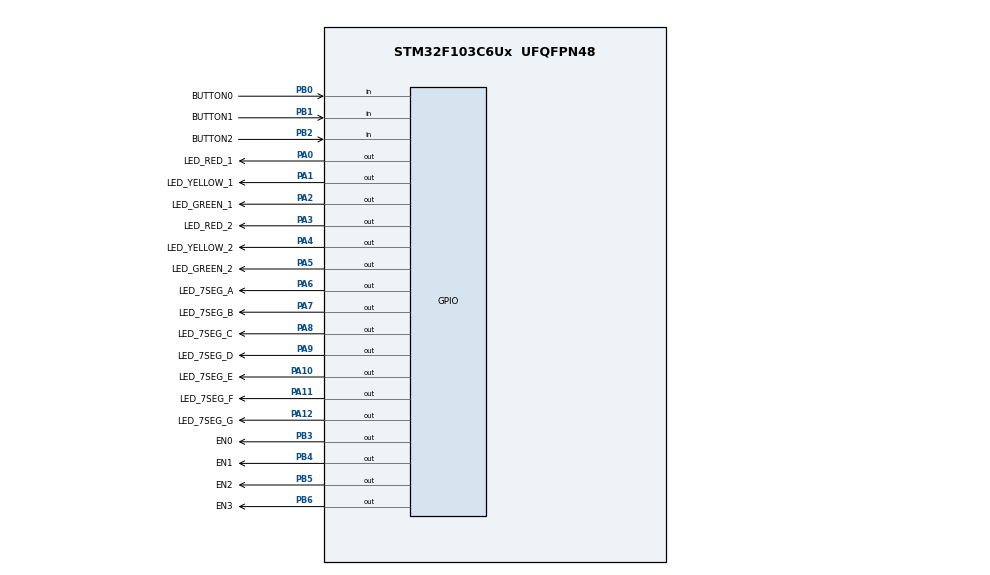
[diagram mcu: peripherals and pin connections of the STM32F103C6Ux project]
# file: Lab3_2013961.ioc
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Mcu.Family=STM32F1
Mcu.Name=STM32F103C6Ux
Mcu.Package=UFQFPN48
NVIC.PriorityGroup=NVIC_PRIORITYGROUP_4
NVIC.TIM2_IRQn=true\:0\:0\:false\:false\:true\:true\:true
PA0-WKUP.GPIO_Label=LED_RED_1
PA0-WKUP.Signal=GPIO_Output
PA1.GPIO_Label=LED_YELLOW_1
PA1.Signal=GPIO_Output
PA10.GPIO_Label=LED_7SEG_E
PA10.Signal=GPIO_Output
PA11.GPIO_Label=LED_7SEG_F
PA11.Signal=GPIO_Output
PA12.GPIO_Label=LED_7SEG_G
PA12.Signal=GPIO_Output
PA2.GPIO_Label=LED_GREEN_1
PA2.Signal=GPIO_Output
PA3.GPIO_Label=LED_RED_2
PA3.Signal=GPIO_Output
PA4.GPIO_Label=LED_YELLOW_2
PA4.Signal=GPIO_Output
PA5.GPIO_Label=LED_GREEN_2
PA5.Signal=GPIO_Output
PA6.GPIO_Label=LED_7SEG_A
PA6.Signal=GPIO_Output
PA7.GPIO_Label=LED_7SEG_B
PA7.Signal=GPIO_Output
PA8.GPIO_Label=LED_7SEG_C
PA8.Signal=GPIO_Output
PA9.GPIO_Label=LED_7SEG_D
PA9.Signal=GPIO_Output
PB0.GPIO_Label=BUTTON0
PB0.GPIO_PuPd=GPIO_PULLUP
PB0.Signal=GPIO_Input
PB1.GPIO_Label=BUTTON1
PB1.GPIO_PuPd=GPIO_PULLUP
PB1.Signal=GPIO_Input
PB2.GPIO_Label=BUTTON2
PB2.GPIO_PuPd=GPIO_PULLUP
PB2.Signal=GPIO_Input
PB3.GPIO_Label=EN0
PB3.Signal=GPIO_Output
PB4.GPIO_Label=EN1
PB4.Signal=GPIO_Output
PB5.GPIO_Label=EN2
PB5.Signal=GPIO_Output
PB6.GPIO_Label=EN3
PB6.Signal=GPIO_Output
ProjectManager.HeapSize=0x200
ProjectManager.StackSize=0x400
ProjectManager.TargetToolchain=STM32CubeIDE
RCC.APB1Freq_Value=8000000
RCC.APB2Freq_Value=8000000
TIM2.Period=10
TIM2.Prescaler=7999
VP_SYS_VS_ND.Mode=No_Debug
VP_TIM2_VS_ClockSourceINT.Mode=Internal
board=custom

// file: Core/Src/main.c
/* USER CODE BEGIN Header */
/**
  ******************************************************************************
  * @file           : main.c
  * @brief          : Main program body
  ******************************************************************************
  * @attention
  *
  * <h2><center>&copy; Copyright (c) 2022 STMicroelectronics.
  * All rights reserved.</center></h2>
  *
  * This software component is licensed by ST under BSD 3-Clause license,
  * the "License"; You may not use this file except in compliance with the
  * License. You may obtain a copy of the License at:
  *                        opensource.org/licenses/BSD-3-Clause
  *
  ******************************************************************************
  */
/* USER CODE END Header */
#include "main.h"

/* USER CODE BEGIN Includes */
#include "global.h"
#include "timer.h"
#include "button.h"
#include "led_traffic.h"
#include "led_7_seg.h"
#include "traffic_fsm.h"
/* USER CODE END Includes */

TIM_HandleTypeDef htim2;

void SystemClock_Config(void);
static void MX_GPIO_Init(void);
static void MX_TIM2_Init(void);

/* USER CODE BEGIN 0 */
void initial_system();
/* USER CODE END 0 */

int main(void)
{

  /* MCU Configuration--------------------------------------------------------*/

  /* Reset of all peripherals, Initializes the Flash interface and the Systick. */
  HAL_Init();

  /* Configure the system clock */
  SystemClock_Config();

  /* Initialize all configured peripherals */
  MX_GPIO_Init();
  MX_TIM2_Init();
  /* USER CODE BEGIN 2 */
HAL_TIM_Base_Start_IT(&htim2);
  /* USER CODE END 2 */

  /* Infinite loop */
  /* USER CODE BEGIN WHILE */
set_timer(3, 100);
  while (1)
  {

	fsm_for_button();
	led_7seg_run();
	fsm_system_run();

    /* USER CODE END WHILE */

  }
}

void SystemClock_Config(void)
{
  RCC_OscInitTypeDef RCC_OscInitStruct = {0};
  RCC_ClkInitTypeDef RCC_ClkInitStruct = {0};

  /** Initializes the RCC Oscillators according to the specified parameters
  * in the RCC_OscInitTypeDef structure.
  */
  RCC_OscInitStruct.OscillatorType = RCC_OSCILLATORTYPE_HSI;
  RCC_OscInitStruct.HSIState = RCC_HSI_ON;
  RCC_OscInitStruct.HSICalibrationValue = RCC_HSICALIBRATION_DEFAULT;
  RCC_OscInitStruct.PLL.PLLState = RCC_PLL_NONE;
  if (HAL_RCC_OscConfig(&RCC_OscInitStruct) != HAL_OK)
  {
    Error_Handler();
  }
  /** Initializes the CPU, AHB and APB buses clocks
  */
  RCC_ClkInitStruct.ClockType = RCC_CLOCKTYPE_HCLK|RCC_CLOCKTYPE_SYSCLK
                              |RCC_CLOCKTYPE_PCLK1|RCC_CLOCKTYPE_PCLK2;
  RCC_ClkInitStruct.SYSCLKSource = RCC_SYSCLKSOURCE_HSI;
  RCC_ClkInitStruct.AHBCLKDivider = RCC_SYSCLK_DIV1;
  RCC_ClkInitStruct.APB1CLKDivider = RCC_HCLK_DIV1;
  RCC_ClkInitStruct.APB2CLKDivider = RCC_HCLK_DIV1;

  if (HAL_RCC_ClockConfig(&RCC_ClkInitStruct, FLASH_LATENCY_0) != HAL_OK)
  {
    Error_Handler();
  }
}

static void MX_TIM2_Init(void)
{

  TIM_ClockConfigTypeDef sClockSourceConfig = {0};
  TIM_MasterConfigTypeDef sMasterConfig = {0};

  htim2.Instance = TIM2;
  htim2.Init.Prescaler = 7999;
  htim2.Init.CounterMode = TIM_COUNTERMODE_UP;
  htim2.Init.Period = 10;
  htim2.Init.ClockDivision = TIM_CLOCKDIVISION_DIV1;
  htim2.Init.AutoReloadPreload = TIM_AUTORELOAD_PRELOAD_DISABLE;
  if (HAL_TIM_Base_Init(&htim2) != HAL_OK)
  {
    Error_Handler();
  }
  sClockSourceConfig.ClockSource = TIM_CLOCKSOURCE_INTERNAL;
  if (HAL_TIM_ConfigClockSource(&htim2, &sClockSourceConfig) != HAL_OK)
  {
    Error_Handler();
  }
  sMasterConfig.MasterOutputTrigger = TIM_TRGO_RESET;
  sMasterConfig.MasterSlaveMode = TIM_MASTERSLAVEMODE_DISABLE;
  if (HAL_TIMEx_MasterConfigSynchronization(&htim2, &sMasterConfig) != HAL_OK)
  {
    Error_Handler();
  }

}

static void MX_GPIO_Init(void)
{
  GPIO_InitTypeDef GPIO_InitStruct = {0};

  /* GPIO Ports Clock Enable */
  __HAL_RCC_GPIOA_CLK_ENABLE();
  __HAL_RCC_GPIOB_CLK_ENABLE();

  /*Configure GPIO pin Output Level */
  HAL_GPIO_WritePin(GPIOA, LED_RED_1_Pin|LED_YELLOW_1_Pin|LED_GREEN_1_Pin|LED_RED_2_Pin
                          |LED_YELLOW_2_Pin|LED_GREEN_2_Pin|LED_7SEG_A_Pin|LED_7SEG_B_Pin
                          |LED_7SEG_C_Pin|LED_7SEG_D_Pin|LED_7SEG_E_Pin|LED_7SEG_F_Pin
                          |LED_7SEG_G_Pin, GPIO_PIN_RESET);

  /*Configure GPIO pin Output Level */
  HAL_GPIO_WritePin(GPIOB, EN0_Pin|EN1_Pin|EN2_Pin|EN3_Pin, GPIO_PIN_RESET);

  /*Configure GPIO pins : LED_RED_1_Pin LED_YELLOW_1_Pin LED_GREEN_1_Pin LED_RED_2_Pin
                           LED_YELLOW_2_Pin LED_GREEN_2_Pin LED_7SEG_A_Pin LED_7SEG_B_Pin
                           LED_7SEG_C_Pin LED_7SEG_D_Pin LED_7SEG_E_Pin LED_7SEG_F_Pin
                           LED_7SEG_G_Pin */
  GPIO_InitStruct.Pin = LED_RED_1_Pin|LED_YELLOW_1_Pin|LED_GREEN_1_Pin|LED_RED_2_Pin
                          |LED_YELLOW_2_Pin|LED_GREEN_2_Pin|LED_7SEG_A_Pin|LED_7SEG_B_Pin
                          |LED_7SEG_C_Pin|LED_7SEG_D_Pin|LED_7SEG_E_Pin|LED_7SEG_F_Pin
                          |LED_7SEG_G_Pin;
  GPIO_InitStruct.Mode = GPIO_MODE_OUTPUT_PP;
  GPIO_InitStruct.Pull = GPIO_NOPULL;
  GPIO_InitStruct.Speed = GPIO_SPEED_FREQ_LOW;
  HAL_GPIO_Init(GPIOA, &GPIO_InitStruct);

  /*Configure GPIO pins : BUTTON0_Pin BUTTON1_Pin BUTTON2_Pin */
  GPIO_InitStruct.Pin = BUTTON0_Pin|BUTTON1_Pin|BUTTON2_Pin;
  GPIO_InitStruct.Mode = GPIO_MODE_INPUT;
  GPIO_InitStruct.Pull = GPIO_PULLUP;
  HAL_GPIO_Init(GPIOB, &GPIO_InitStruct);

  /*Configure GPIO pins : EN0_Pin EN1_Pin EN2_Pin EN3_Pin */
  GPIO_InitStruct.Pin = EN0_Pin|EN1_Pin|EN2_Pin|EN3_Pin;
  GPIO_InitStruct.Mode = GPIO_MODE_OUTPUT_PP;
  GPIO_InitStruct.Pull = GPIO_NOPULL;
  GPIO_InitStruct.Speed = GPIO_SPEED_FREQ_LOW;
  HAL_GPIO_Init(GPIOB, &GPIO_InitStruct);

}

/* USER CODE BEGIN 4 */
void HAL_TIM_PeriodElapsedCallback(TIM_HandleTypeDef *htim){
	timer_run();
	 read_input();
}

/* USER CODE END 4 */

void Error_Handler(void)
{
  __disable_irq();
  while (1)
  {
  }
}

/************************ (C) COPYRIGHT STMicroelectronics *****END OF FILE****/
